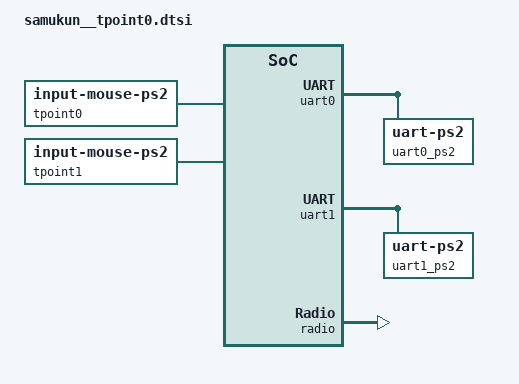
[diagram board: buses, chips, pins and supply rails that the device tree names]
/*
 * Copyright (c) 2020 Pete Johanson
 *
 * SPDX-License-Identifier: MIT
 */

#define MOUSE_PS2_PIN_SCL_PRO_MICRO <&pro_micro 16 GPIO_ACTIVE_HIGH>
#define MOUSE_PS2_PIN_SDA_PRO_MICRO <&pro_micro 10 GPIO_ACTIVE_HIGH>
#define MOUSE_PS2_PIN_RST_PRO_MICRO <&pro_micro 9 GPIO_ACTIVE_HIGH>
#define MOUSE_PS2_PIN_SDA_PINCTRL <NRF_PSEL(UART_RX, 0, 9)>
// #define MOUSE_PS2_PIN_SCL_PRO_MICRO <&gpio0 5 GPIO_ACTIVE_HIGH>
// #define MOUSE_PS2_PIN_SDA_PRO_MICRO <&gpio0 4 GPIO_ACTIVE_HIGH>
// #define MOUSE_PS2_PIN_RST_PRO_MICRO <&gpio1 11 GPIO_ACTIVE_HIGH>
// #define MOUSE_PS2_PIN_SDA_PINCTRL <NRF_PSEL(UART_RX, 0, 4)>

#define MOUSE_PS2_UART_BAUD_RATE <14400>
#define MOUSE_PS2_PIN_UNEXPOSED_TX <NRF_PSEL(UART_TX, 0, 27)>
#define MOUSE_PS2_PIN_UNEXPOSED_RX <NRF_PSEL(UART_RX, 0, 26)>


#define MOUSE_PS2_PIN_SCL_PRO_MICRO_1 <&pro_micro 14 GPIO_ACTIVE_HIGH>
#define MOUSE_PS2_PIN_SDA_PRO_MICRO_1 <&pro_micro 0 GPIO_ACTIVE_HIGH>
#define MOUSE_PS2_PIN_RST_PRO_MICRO_1 <&pro_micro 8 GPIO_ACTIVE_HIGH>
#define MOUSE_PS2_PIN_SDA_PINCTRL_1 <NRF_PSEL(UART_RX, 0, 8)> // 0, 8
// #define MOUSE_PS2_PIN_SCL_PRO_MICRO_1 <&gpio0 5 GPIO_ACTIVE_HIGH>
// #define MOUSE_PS2_PIN_SDA_PRO_MICRO_1 <&gpio0 4 GPIO_ACTIVE_HIGH>
// #define MOUSE_PS2_PIN_RST_PRO_MICRO_1 <&gpio1 11 GPIO_ACTIVE_HIGH>
// #define MOUSE_PS2_PIN_SDA_PINCTRL_1 <NRF_PSEL(UART_RX, 0, 4)>

#define MOUSE_PS2_UART_BAUD_RATE_1 <14400>
#define MOUSE_PS2_PIN_UNEXPOSED_TX_1 <NRF_PSEL(UART_TX, 0, 29)>
#define MOUSE_PS2_PIN_UNEXPOSED_RX_1 <NRF_PSEL(UART_RX, 0, 28)>


&pinctrl {

	uart0_ps2_default: uart0_ps2_default {
		group1 {
			psels = MOUSE_PS2_PIN_UNEXPOSED_TX,
							MOUSE_PS2_PIN_SDA_PINCTRL;
		};
	};
	uart0_ps2_off: uart0_ps2_off {
		group1 {
			psels = MOUSE_PS2_PIN_UNEXPOSED_TX,
							MOUSE_PS2_PIN_UNEXPOSED_RX;
		};
	};

	uart1_ps2_default: uart1_ps2_default {
		group1 {
			psels = MOUSE_PS2_PIN_UNEXPOSED_TX_1,
							MOUSE_PS2_PIN_SDA_PINCTRL_1;
		};
	};

	uart1_ps2_off: uart1_ps2_off {
		group1 {
			psels = MOUSE_PS2_PIN_UNEXPOSED_TX_1,
							MOUSE_PS2_PIN_UNEXPOSED_RX_1;
		};
	};
	
};


&uart0 {
    status = "okay";
    compatible = "nordic,nrf-uarte";

    current-speed = MOUSE_PS2_UART_BAUD_RATE;
    pinctrl-0 = <&uart0_ps2_default>;
    pinctrl-1 = <&uart0_ps2_off>;
    pinctrl-names = "default", "sleep";

    uart0_ps2: uart0_ps2 {
        status="okay";
        compatible = "uart-ps2";
        scl-gpios = MOUSE_PS2_PIN_SCL_PRO_MICRO;
        sda-gpios = MOUSE_PS2_PIN_SDA_PRO_MICRO;
    };
};

&uart1 {
    status = "okay";
    compatible = "nordic,nrf-uarte";

    current-speed = MOUSE_PS2_UART_BAUD_RATE_1;
    pinctrl-0 = <&uart1_ps2_default>;
    pinctrl-1 = <&uart1_ps2_off>;
    pinctrl-names = "default", "sleep";

    uart1_ps2: uart1_ps2 {
        status="okay";
        compatible = "uart-ps2";
        scl-gpios = MOUSE_PS2_PIN_SCL_PRO_MICRO_1;
        sda-gpios = MOUSE_PS2_PIN_SDA_PRO_MICRO_1;
    };
};


/ {
    tpoint0: tpoint0 {
				status = "okay";
        compatible = "zmk,input-mouse-ps2";
	      ps2-device = <&uart0_ps2>;
#ifdef MOUSE_PS2_PIN_RST_PRO_MICRO
        rst-gpios = MOUSE_PS2_PIN_RST_PRO_MICRO;
#endif
				disable-clicking;
				tp-sensitivity = <128>;
				tp-x-invert;
				tp-y-invert;
				sampling-rate = <80>;
    };
};

/ {
    tpoint1: tpoint1 {
				status = "okay";
        compatible = "zmk,input-mouse-ps2";
	      ps2-device = <&uart1_ps2>;
#ifdef MOUSE_PS2_PIN_RST_PRO_MICRO_1
        rst-gpios = MOUSE_PS2_PIN_RST_PRO_MICRO_1;
#endif
				disable-clicking;
				tp-sensitivity = <128>;
				tp-x-invert;
				tp-y-invert;
				sampling-rate = <80>;
    };
};


&gpiote { interrupts = < 6 0 >; };
&clock { interrupts = < 0 3 >; };
&power { interrupts = < 0 3 >; };
&radio { interrupts = < 1 3 >; };
&uart0 { interrupts = < 2 3 >; };
&i2c0 { interrupts = < 3 3 >; };
&spi0 { interrupts = < 3 3 >; };
&i2c1 { interrupts = < 4 3 >; };
&spi1 { interrupts = < 4 3 >; };
&nfct { interrupts = < 5 3 >; };
&adc { interrupts = < 7 3 >; };
&timer0 { interrupts = < 8 3 >; };
&timer1 { interrupts = < 9 3 >; };
&timer2 { interrupts = < 10 3 >; };
&rtc0 { interrupts = < 11 3 >; };
&temp { interrupts = < 12 3 >; };
&rng { interrupts = < 13 3 >; };
&ecb { interrupts = < 14 3 >; };
&ccm { interrupts = < 15 3 >; };
&wdt { interrupts = < 16 3 >; };
&rtc1 { interrupts = < 17 3 >; };
&qdec { interrupts = < 18 3 >; };
&comp { interrupts = < 19 3 >; };
&egu0 { interrupts = < 20 3 >; };
&egu1 { interrupts = < 21 3 >; };
&egu2 { interrupts = < 22 3 >; };
&egu3 { interrupts = < 23 3 >; };
&egu4 { interrupts = < 24 3 >; };
&egu5 { interrupts = < 25 3 >; };
&timer3 { interrupts = < 26 3 >; };
&timer4 { interrupts = < 27 3 >; };
&pwm0 { interrupts = < 28 3 >; };
&pdm0 { interrupts = < 29 3 >; };
&pwm1 { interrupts = < 33 3 >; };
&pwm2 { interrupts = < 34 3 >; };
&spi2 { interrupts = < 35 3 >; };
&rtc2 { interrupts = < 36 3 >; };
&i2s0 { interrupts = < 37 3 >; };
&usbd { interrupts = < 39 3 >; };
&uart1 { interrupts = < 40 3 >; };
&qspi { interrupts = < 41 3 >; };
&pwm3 { interrupts = < 45 3 >; };
&spi3 { interrupts = < 47 3 >; };
&cryptocell { interrupts = < 42 3 >; };
